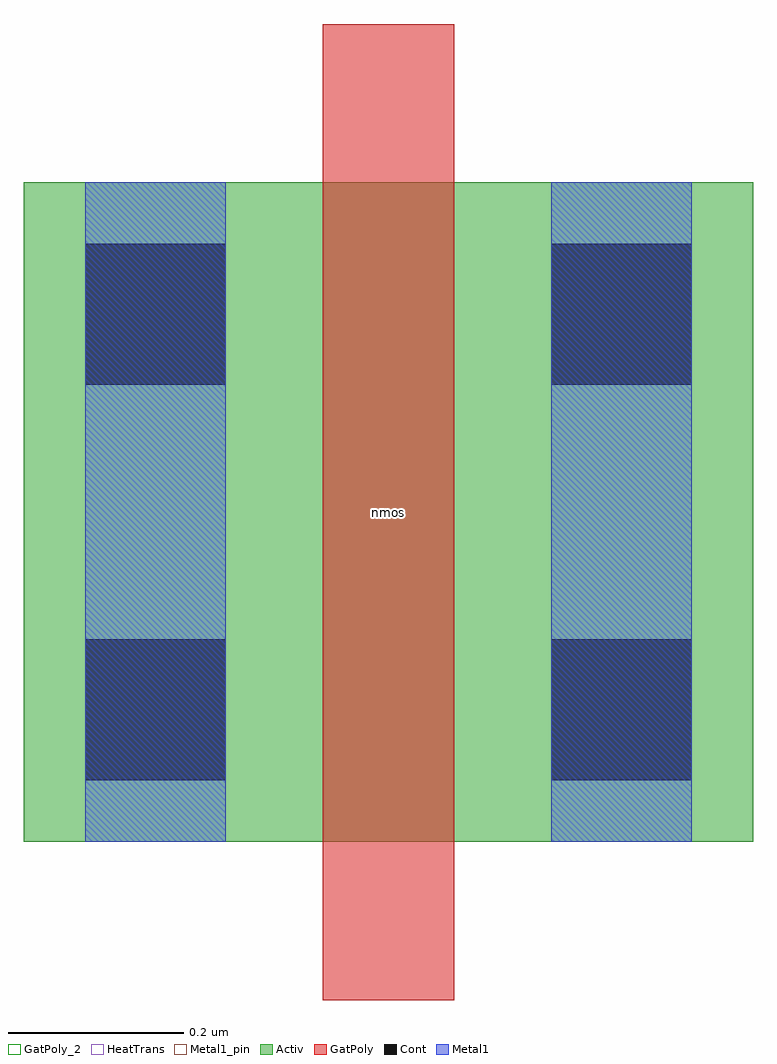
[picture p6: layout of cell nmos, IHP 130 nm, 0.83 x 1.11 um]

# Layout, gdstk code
import gdstk
lib = gdstk.Library(unit=1e-6, precision=1e-09)
def R(c, l, rs):  # rectangles x0, y0, x1, y1
    for r in rs: c.add(gdstk.rectangle(r[:2], r[2:], *l))
Activ = (1, 0)
GatPoly = (5, 0)
GatPoly_2 = (5, 2)
Cont = (6, 0)
Metal1 = (8, 0)
Metal1_pin = (8, 2)
HeatTrans = (51, 0)

nmos = lib.new_cell('nmos')
R(nmos, Activ, [(0,0,0.3,0.3), (0,0,0.83,0.75), (0.53,0,0.83,0.3)])
R(nmos, GatPoly, [(0.34,-0.18,0.49,0.93)])
R(nmos, GatPoly_2, [(0.34,-0.18,0.49,0.93)])
R(nmos, Cont, [(0.07,0.07,0.23,0.23), (0.6,0.07,0.76,0.23), (0.07,0.52,0.23,0.68), (0.6,0.52,0.76,0.68)])
R(nmos, Metal1, [(0.07,0,0.23,0.75), (0.6,0,0.76,0.75)])
R(nmos, Metal1_pin, [(0.07,0,0.23,0.75), (0.6,0,0.76,0.75)])
R(nmos, HeatTrans, [(0.34,-0.18,0.49,0.93)])
nmos.add(gdstk.Label('nmos', (0.415,0.375), layer=63, texttype=0))
nmos.add(gdstk.Label('nmos', (0.415,0.375), layer=51, texttype=0))

lib.write_gds('nmos.gds')
